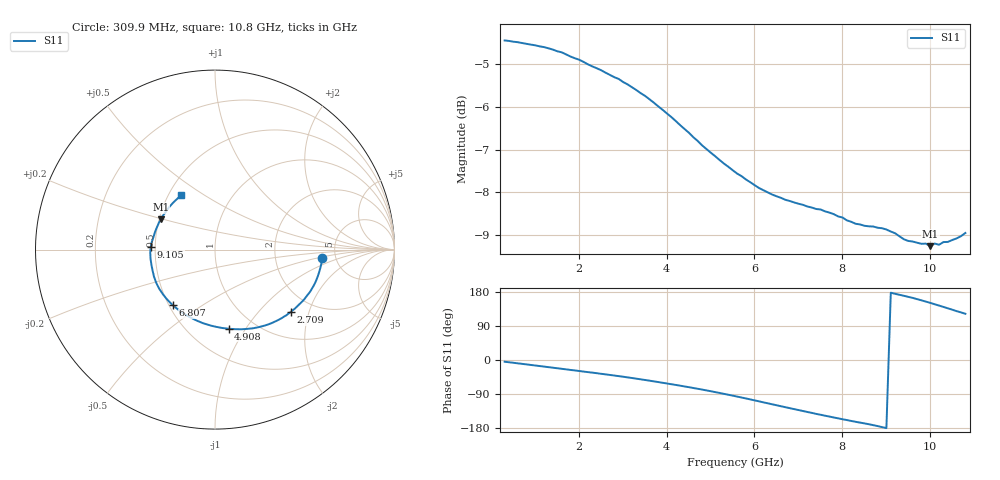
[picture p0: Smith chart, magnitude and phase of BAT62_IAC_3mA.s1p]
! Infineon Technologies  Discrete & RF Semiconductors
! BAT62
! IAC = 3 mA
! One-Port S-Parameters
# Hz  S  MA  R  50
!f  S11
!Hz  Mag  Ang
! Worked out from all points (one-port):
!   106 points, 309.9 MHz to 10.8 GHz, reference 50 ohm
!   lowest |S11| = -9.3 dB at 10.01 GHz (marker M1), VSWR 2.05, Z = 25.6 + j9.79 ohm
!   |S11| at or under -10 dB: nowhere
!   S11 on the Smith chart (normalised r, x): 309.9 MHz: 3.90, -0.58; 2.709 GHz: 1.54, -1.53; 4.908 GHz: 0.76, -0.84; 6.807 GHz: 0.52, -0.38; 9.105 GHz: 0.47, +0.02; 10.8 GHz: 0.58, +0.40
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3.0985e8  0.5996 -4.5
1.0095e9  0.5918 -14.6
1.4093e9  0.585 -20.3
1.70915e9  0.5775 -24.7
2.10895e9  0.5658 -30.6
2.70865e9  0.5464 -39.4
3.0085e9  0.536 -44.1
3.30835e9  0.5245 -49.2
3.70815e9  0.507 -56.4
4.30785e9  0.4771 -67.8
4.90755e9  0.4472 -80.2
5.2074e9  0.4342 -87.0
5.6072e9  0.4186 -96.6
6.10695e9  0.4025 -109.1
6.4068e9  0.3955 -117.0
6.8066e9  0.3887 -127.1
6.90655e9  0.3872 -129.6
7.2064e9  0.383 -137.2
7.6062e9  0.378 -147.0
8.006e9  0.3718 -156.4
8.2059e9  0.3675 -160.9
8.70565e9  0.3629 -171.9
9.10545e9  0.358 177.5
9.50525e9  0.349 166.6
9.8051e9  0.3463 157.4
1.0005e10  0.3441 150.7
1.030485e10  0.3479 140.1
1.08046e10  0.3566 122.0
